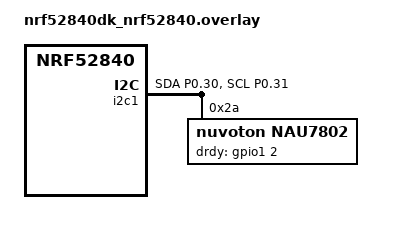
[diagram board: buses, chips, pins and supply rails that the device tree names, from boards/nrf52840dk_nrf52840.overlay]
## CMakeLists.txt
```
cmake_minimum_required(VERSION 3.20.0)

list(APPEND ZEPHYR_EXTRA_MODULES "${CMAKE_CURRENT_SOURCE_DIR}/drivers")

find_package(Zephyr REQUIRED HINTS $ENV{ZEPHYR_BASE})

project(nau7802-test-delete-me)

# Add your source files here
target_sources(app PRIVATE
    src/main.c            # Main application file
    src/shell/shell_commands.c  # Add shell command source file here
    src/ble/ble_service.c
    src/ble/myble_lbs.c
    src/nvs/nvs.c
    src/sensor/appcall_nau7802.c
    src/sensor/calibration.c
    src/power_off/poweroff.c
)

# Include directories for header files
target_include_directories(app PRIVATE
    src
    drivers     
)
```

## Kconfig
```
source "Kconfig.zephyr"
rsource "drivers/Kconfig"

menu "Nordic Bluetooth Smart Scale FW"

config APP_ENABLE_SHELL_CMDS
    bool "Enable custom shell commands"
    default y
    help
      Enable the registration of custom shell commands.

config APP_ENABLE_NVSRW
    bool "Enable NVS API to R/W Parameter"
    default y
    help
      Enable the registration of custom shell commands.

config SENSOR_VALUE_PAYLOAD
    bool "Enable custom shell commands"
    default y
    help
      Enable the registration of custom shell commands.

config BT_POWER_PROFILING_DATA_LENGTH
	int "Notification data length"
	default 20
	range 1 BT_L2CAP_TX_MTU
	help
	  Length of the data sends through notification mechanism.

config BT_POWER_PROFILING_NOTIFICATION_INTERVAL
	int "Notification interval"
	default 500
	help
	  Notification send interval in milliseconds. Notification data is sent on every interval
	  expiration.

config BT_POWER_PROFILING_NOTIFICATION_TIMEOUT
	int "Notification timeout"
	default 10000
	help
	  Notification timeout in milliseconds. When this timeout fires the device will stop
	  sending notifications.

config BT_POWER_PROFILING_CONNECTABLE_ADV_DURATION
	int "Connectable advertising duration"
	default 3000
	help
	  Connectable advertising duration in N*10 milliseconds unit.

config BT_POWER_PROFILING_NON_CONNECTABLE_ADV_DURATION
	int "Non-connectable advertising duration"
	default 6000
	help
	  Non-connectable advertising duration in N*10 milliseconds unit.

config BT_POWER_PROFILING_NFC_ADV_DURATION
	int "Advertising duration when the NFC field is detected"
	default 3000
	help
	  Advertising duration when the NFC field is detected in N*10 milliseconds unit.

config BT_POWER_PROFILING_CONNECTABLE_ADV_INTERVAL_MIN
	int "Connectable advertising minimum interval"
	default 160
	help
	  Connectable advertising minimum interval in 0.625 milliseconds unit.

config BT_POWER_PROFILING_CONNECTABLE_ADV_INTERVAL_MAX
	int "Connectable advertising maximum interval"
	default 240
	help
	  Connectable advertising maximum interval in 0.625 milliseconds unit.

config BT_POWER_PROFILING_NON_CONNECTABLE_ADV_INTERVAL_MIN
	int "Non-connectable advertising minimum interval"
	default 1600
	help
	  Non-connectable advertising minimum interval in 0.625 milliseconds unit.

config BT_POWER_PROFILING_NON_CONNECTABLE_ADV_INTERVAL_MAX
	int "Non-connectable advertising maximum interval"
	default 1920
	help
	  Non-connectable advertising maximum interval in 0.625 milliseconds unit.

config BT_POWER_PROFILING_LED_DISABLED
	bool "Disable LEDs"
	default y
	help
	  Disables the LEDs to reduce power consumption.

config BT_POWER_PROFILING_NFC_DISABLED
	bool "Disable NFC"
	help
	  Disables the NFC to reduce power consumption.

config SETTINGS
	default y

config ZMS
	default y if (SOC_FLASH_NRF_RRAM || SOC_FLASH_NRF_MRAM)

config NVS
	default y if !(SOC_FLASH_NRF_RRAM || SOC_FLASH_NRF_MRAM)

endmenu
```

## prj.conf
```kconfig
# Core system
CONFIG_SYSTEM_WORKQUEUE_STACK_SIZE=2048
CONFIG_MAIN_STACK_SIZE=2048

#According to PowerOFF Sample
CONFIG_NCS_SAMPLES_DEFAULTS=y

# Sensor
CONFIG_SENSOR=y
CONFIG_I2C=y
CONFIG_SPI=y
CONFIG_NAU7802=y
# # Interrut triggerred configurations
CONFIG_NAU7802_TRIGGER_NONE=n
CONFIG_NAU7802_TRIGGER_OWN_THREAD=y
CONFIG_NAU7802_TRIGGER_GLOBAL_THREAD=n
CONFIG_NAU7802_TRIGGER_DIRECT=n

# Enable Power management
CONFIG_PM_DEVICE=y
CONFIG_PM_DEVICE_RUNTIME=y
#CONFIG_SOC_DCDC_NRF52X=y

CONFIG_POWEROFF=y


#Bluetooth
CONFIG_BT=y
CONFIG_BT_SMP=y
CONFIG_BT_SMP_SC_PAIR_ONLY=n
CONFIG_BT_PERIPHERAL=y
CONFIG_BT_DEVICE_NAME="SmartScale"
CONFIG_BT_GATT_CLIENT=y

CONFIG_BT_USER_PHY_UPDATE=y

#CONFIG_BT_PERIPHERAL_PREF_MIN_INT=800
#CONFIG_BT_PERIPHERAL_PREF_MAX_INT=800
#CONFIG_BT_PERIPHERAL_PREF_LATENCY=0
#CONFIG_BT_PERIPHERAL_PREF_TIMEOUT=400
CONFIG_BT_GAP_AUTO_UPDATE_CONN_PARAMS=y

CONFIG_BT_USER_DATA_LEN_UPDATE=y
CONFIG_BT_CTLR_DATA_LENGTH_MAX=251
CONFIG_BT_BUF_ACL_RX_SIZE=251
CONFIG_BT_BUF_ACL_TX_SIZE=251
CONFIG_BT_L2CAP_TX_MTU=247

#NFC
CONFIG_NFC_T2T_NRFXLIB=y

CONFIG_NFC_NDEF=y
CONFIG_NFC_NDEF_MSG=y
CONFIG_NFC_NDEF_RECORD=y
CONFIG_NFC_NDEF_TEXT_RECORD=y
CONFIG_NFC_NDEF_LE_OOB_REC=y
CONFIG_NFC_NDEF_CH_MSG=y


# Button and LED library 
CONFIG_DK_LIBRARY=y


# Logging
CONFIG_LOG=y
CONFIG_TRACING=y


# Enable shell !!!@chrs89: FOR DEVELOPEMENT ONLY
CONFIG_APP_ENABLE_SHELL_CMDS=y
CONFIG_SHELL=y
CONFIG_SHELL_BACKEND_SERIAL=y  # If you're using serial communication to interact with the shell
CONFIG_SHELL_BACKEND_DUMMY=y
CONFIG_DEVICE_SHELL=y

# NVS Write !!!@chrs89: MANUFACTURE MODE ONLY
CONFIG_APP_ENABLE_NVSRW=y
CONFIG_FLASH=y
CONFIG_FLASH_PAGE_LAYOUT=y
CONFIG_NVS=y
CONFIG_REBOOT=y
CONFIG_MPU_ALLOW_FLASH_WRITE=y

# For Float Print Support
CONFIG_CBPRINTF_FP_SUPPORT=y
```

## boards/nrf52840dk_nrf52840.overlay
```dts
&spi0 {status = "disabled";};
&spi1 {status = "disabled";};
&i2c0 {status = "disabled";};

&i2c1 {
	status = "okay";
	compatible = "nordic,nrf-twim";

	pinctrl-0 = <&i2c1_default>;
	pinctrl-1 = <&i2c1_sleep>;
	pinctrl-names = "default", "sleep";
	/*enable device runtime pm for i2c */
	zephyr,pm-device-runtime-auto;


	nau7802: nau7802@2a {
		compatible = "nuvoton,nau7802";
		reg = <0x2a>;
		drdy-gpios = <&gpio1 2 GPIO_ACTIVE_HIGH>;
		conversions-per-second = <320>; //SPS
		gain = <128>;

		/*enable device runtime pm for bme sensor */
		zephyr,pm-device-runtime-auto;

		/* Default power-up the device on boot */
		status = "okay";  // Ensures the device is active (not disabled)
	};
};


&pinctrl {
	i2c1_default: i2c1_default {
		group1 {
			psels = <NRF_PSEL(TWIM_SDA, 0, 30)>,
					<NRF_PSEL(TWIM_SCL, 0, 31)>;
		};
	};

	i2c1_sleep: i2c1_sleep {
		group1 {
			psels = <NRF_PSEL(TWIM_SDA, 0, 30)>,
					<NRF_PSEL(TWIM_SCL, 0, 31)>;
			low-power-enable;
		};
	};
};
```

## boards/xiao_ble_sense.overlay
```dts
&i2c0 {
    status = "okay";
    compatible = "nordic,nrf-twim";
    nau7802: nau7802@2a {
        compatible = "nuvoton,nau7802";
        reg = <0x2a>;
        drdy-gpios = <&gpio0 1 GPIO_ACTIVE_HIGH>;
        conversions-per-second = <320>; //SPS
        gain = <128>;
    };
};
```

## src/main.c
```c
#include <zephyr/kernel.h>
#include <zephyr/drivers/gpio.h>
#include <zephyr/drivers/sensor.h>
#include <zephyr/drivers/i2c.h>
#include <zephyr/logging/log.h>
#include <zephyr/kernel/thread.h>
#include <dk_buttons_and_leds.h>

#include "sensor/nau7802/nau7802.h"

#ifdef CONFIG_APP_ENABLE_SHELL_CMDS
#include "shell/shell_commands.h"
#endif

#include "ble/ble_service.h"
#include "ble/myble_lbs.h"
#include "sensor/appcall_nau7802.h"
#include "app_nau7802_cmd.h"
#include "power_off/poweroff.h"

LOG_MODULE_REGISTER(MAIN_APPLICATION, LOG_LEVEL_DBG);

// === Definitions ===
#define RUN_STATUS_LED DK_LED1
#define CON_STATUS_LED DK_LED2
#define USER_BUTTON DK_BTN1_MSK

#define STACKSIZE 1024
#define PRIORITY 2
#define RUN_LED_BLINK_INTERVAL 1000
#define BLE_CONN_INTERVAL_MS 40

typedef struct force_val_compr sens_val_t;
BUILD_ASSERT(sizeof(sens_val_t) == 4, "sens_val_t must be 4 bytes");

#define SAMPLE_SIZE 4            // 2 bytes val1 + 2 bytes val2
#define MAX_SAMPLES_PER_NOTIF 61 // 244 bytes max / 4 bytes

/*TASKS & THREAD DEFINITION*/
static void ble_send_work_handler(struct k_work *work);
static K_WORK_DELAYABLE_DEFINE(ble_send_work, ble_send_work_handler);

void start_ble_send_loop(void)
{
    k_work_schedule(&ble_send_work, K_NO_WAIT);
}

K_MSGQ_DEFINE(sensor_data_queue, sizeof(sens_val_t), 128, 4);

K_SEM_DEFINE(bleSend_action_sem, 0, 1);

/*Thread Timing*/
#include <zephyr/sys/atomic.h>
static atomic_t producer_cb_counter = ATOMIC_INIT(0);
static atomic_t consumer_cb_counter = ATOMIC_INIT(0);
static atomic_t ble_loop_running = ATOMIC_INIT(0);
static struct k_thread log_rate_id;
K_THREAD_STACK_DEFINE(worker_stack_1, 512);

void log_callback_rate_thread(void)
{
    while (1)
    {
        k_sleep(K_SECONDS(1)); // Log every second

        int count = atomic_set(&producer_cb_counter, 0); // Reset and read
        int interval = 1e6 / count;
        printk("Producer Thread interval: %d µs, frequ: %d hz \n", interval, count);

        count = atomic_set(&consumer_cb_counter, 0); // Reset and read
        interval = 1e6 / count;
        printk("Consumer Thread interval: %d µs, frequ: %d hz \n", interval, count);
    }
}

/*Thread Timing*/

// === BLE Application Callbacks ===
static bool app_button_state;

static void app_led_cb(bool led_state)
{
    // dk_set_led(USER_LED, led_state);
}

static bool app_button_cb(void)
{
    return app_button_state;
}

static void app_aindx_cb(const uint8_t val)
{
    LOG_INF("A_INDX_Call_Back_Function value: %d", val);
    if (val < NAU7802_CMD_COUNT)
    {
        // Value is a valid command enum
        int err = nau7802_execute_command((enum app_nau7802_command)val);
        if (err)
        {
            LOG_ERR("nau7802_execute_command (err: %d)", err);
        }
    }
    else
    {
        LOG_WRN("Invalid BLE command: %d", val);
    }
}

static struct my_lbs_cb app_callbacks = {
    .led_cb = app_led_cb,
    .button_cb = app_button_cb,
    .aindx_cb = app_aindx_cb,
};

// === Button Callback ===
static void button_changed(uint32_t button_state, uint32_t has_changed)
{
    if (has_changed & USER_BUTTON)
    {
        uint32_t user_button_state = button_state & USER_BUTTON;
        my_lbs_send_button_state_indicate(user_button_state);
        app_button_state = user_button_state ? true : false;
    }
}

// === BLE Send Work Handler ===
static void ble_send_work_handler(struct k_work *work)
{

    atomic_inc(&consumer_cb_counter);

    bool prod_active = k_msgq_num_used_get(&sensor_data_queue) > 0;

    uint8_t ble_buffer[244];
    struct force_val_compr val_compr;
    size_t sample_count = 0;

    while (sample_count < MAX_SAMPLES_PER_NOTIF)
    {
        if (k_msgq_get(&sensor_data_queue, &val_compr, K_NO_WAIT) == 0)
        {

            memcpy(&ble_buffer[sample_count * SAMPLE_SIZE], &val_compr, SAMPLE_SIZE);
            sample_count++;
        }
        else
        {
            break;
        }
    }

    if (sample_count > 0)
    {
        size_t len = sample_count * SAMPLE_SIZE;
        int err = my_lbs_send_batched_notify(ble_buffer, len);
        if (err)
        {
            LOG_ERR("Failed to send batched notify: %d", err);
        }
    }

    /*Adaptive Re-Scheduling if Producer is Active*/
    // Re-schedule for next interval (K_Work Delayable Concept)
    if (prod_active)
    {
        k_work_schedule(&ble_send_work, K_MSEC(BLE_CONN_INTERVAL_MS));
    }
    else
    {
        // Stop loop — it will be restarted by the producer when active again
        atomic_set(&ble_loop_running, 0);
        LOG_DBG("BLE loop stopped — no pending data");
    }
}

// === Sensor Callback ===
const struct device *const nau7802 = DEVICE_DT_GET_ONE(nuvoton_nau7802);

void sensor_data_ready_callback(const struct device *dev, const struct sensor_trigger *trig)
{
    /*TEST PURPOSE SIMULATE SENSOR DATA*/
    static uint16_t simulated_value = 0;
    static uint16_t val2 = 1234;

    atomic_inc(&producer_cb_counter); // Count every call

    struct sensor_value force_val;
    if (nau7802_sample_fetch(dev) < 0 || nau7802_channel_get(dev, SENSOR_CHAN_FORCE, &force_val) < 0)
    {
        LOG_ERR("Failed to fetch or get sensor value");
        return;
    }

    struct force_val_compr val_compr;
    val_compr.val1 = (int16_t)(simulated_value);
    val_compr.val2 = (int16_t)val2;

    // Increment and wrap
    simulated_value += 1;
    if (simulated_value > 10000)
    {
        simulated_value = 0;
    }

    if (k_msgq_put(&sensor_data_queue, &val_compr, K_NO_WAIT) == 0)
    {
        if (atomic_cas(&ble_loop_running, 0, 1))
        {
            // Start delayed BLE send work
            start_ble_send_loop();
            LOG_DBG("BLE loop started by producer");
        }
    }
    else
    {
        LOG_WRN("Sensor data queue full — dropping data");
    }

    // struct sensor_value force_val;
    // if (nau7802_sample_fetch(dev) < 0 || nau7802_channel_get(dev, SENSOR_CHAN_FORCE, &force_val) < 0)
    // {
    //     LOG_ERR("Failed to fetch or get sensor value");
    //     return;
    // }

    // struct force_val_compr val_compr;
    // val_compr.val1 = (int16_t)(force_val.val1);
    // val_compr.val2 = (int16_t)(force_val.val2 / 1000);

    // if (k_msgq_put(&sensor_data_queue, &val_compr, K_NO_WAIT) == 0)
    // {
    //     k_sem_give(&bleSend_action_sem); // Nothing to give
    // }
    // else
    // {
    //     LOG_WRN("Sensor data queue full — dropping data");
    // }
}

// === Init Button ===
static int init_button(void)
{
    int err = dk_buttons_init(button_changed);
    if (err)
    {
        LOG_ERR("Cannot init buttons (err: %d)", err);
    }
    return err;
}

// === Main Entry Point ===
int main(void)
{
    int err;
    int blink_status = 0;

// Shell commands
#ifdef CONFIG_APP_ENABLE_SHELL_CMDS
    register_shell_commands();
#endif

    // Sensor readiness
    if (!device_is_ready(nau7802))
    {
        LOG_ERR("Sensor not ready");
        return 0;
    }

// Load Calibration Data from NVS and set to nau7802
#ifdef CONFIG_APP_ENABLE_NVSRW
    err = load_calib_fromNVS(nau7802);
    if (err < 0)
    {
        LOG_ERR("Failed to load calib data from NVS, %d", err);
        // return 0;
    }
#endif

    // Set up sensor trigger
    struct sensor_trigger trig = {
        .type = SENSOR_TRIG_DATA_READY,
        .chan = SENSOR_CHAN_FORCE,
    };

    err = nau7802_trigger_set(nau7802, &trig, sensor_data_ready_callback);
    if (err < 0)
    {
        LOG_ERR("Failed to set sensor trigger");
        return 0;
    }

    // LED & button init
    err = dk_leds_init();
    if (err)
        return -1;

    err = init_button();
    if (err)
        return -1;

    err = init_ble_service();
    if (err)
    {
        LOG_ERR("Failed to init BLE Service (err:%d)", err);
        return -1;
    }

    err = my_lbs_init(&app_callbacks);
    if (err)
    {
        LOG_ERR("Failed to init LBS (err:%d)", err);
        return -1;
    }

    // BLE advertising
    ble_start_advertising();

    // POWER_OFF
    poweroff();
    print_reset_reason();

    if (start_nfc() < 0)
    {
        printk("ERROR: NFC configuration failed\n");
        return -1;
    }

    // LOG TREAD ATOMMIC
    // k_thread_create(&log_rate_id, worker_stack_1, 512, (k_thread_entry_t)log_callback_rate_thread, NULL, NULL, NULL, 5, 0, K_NO_WAIT);

    // LED heartbeat loop
    for (;;)
    {
        dk_set_led(RUN_STATUS_LED, (++blink_status) % 2);
        k_sleep(K_MSEC(RUN_LED_BLINK_INTERVAL));
    }
}
```

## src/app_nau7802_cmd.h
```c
// app_nau7802_cmd.h
#ifndef APP_NAU7802_CMD_H
#define APP_NAU7802_CMD_H

enum app_nau7802_command
{
    NAU7802_RESUME_THREAD = 0,
    NAU7802_SUSPEND_THREAD,
    NAU7802_SET_10SPS,
    NAU7802_SET_20SPS,
    NAU7802_SET_40SPS,
    NAU7802_SET_80SPS,
    NAU7802_SET_320SPS,
    NAU7802_TARA,
    NAU7802_GET_OFFSET,
    NAU7802_GET_CALIBRATIONF_5KG,
    NAU7802_CMD_COUNT, // Always last: size of the command list
};

#endif // APP_NAU7802_CMD_H
```

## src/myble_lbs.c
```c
/*
 * Copyright (c) 2018 Nordic Semiconductor ASA
 *
 * SPDX-License-Identifier: LicenseRef-Nordic-5-Clause
 */

/** @file
 *  @brief LED Button Service (LBS) sample
 */

#include <zephyr/types.h>
#include <stddef.h>
#include <string.h>
#include <errno.h>
#include <zephyr/sys/printk.h>
#include <zephyr/sys/byteorder.h>
#include <zephyr/kernel.h>
#include <zephyr/logging/log.h>
#include <zephyr/bluetooth/bluetooth.h>
#include <zephyr/bluetooth/hci.h>
#include <zephyr/bluetooth/conn.h>
#include <zephyr/bluetooth/uuid.h>
#include <zephyr/bluetooth/gatt.h>
#include <zephyr/drivers/sensor.h>
#include <zephyr/sys_clock.h>

#include "myble_lbs.h"

LOG_MODULE_DECLARE(NAU7802, LOG_LEVEL_DBG);

// Global variable to store the period time (time between calls)
static uint32_t prev_time_us = 0; // Store time in microseconds

static bool notify_mysensor_enabled;
static bool indicate_enabled;
static bool button_state;
static struct my_lbs_cb lbs_cb;

/* STEP 4 - Define an indication parameter */
static struct bt_gatt_indicate_params ind_params;

/* STEP 3 - Implement the configuration change callback function */
static void mylbsbc_ccc_cfg_changed(const struct bt_gatt_attr *attr, uint16_t value)
{
	indicate_enabled = (value == BT_GATT_CCC_INDICATE);
}

/* STEP 13 - Define the configuration change callback function for the MYSENSOR characteristic */
static void mylbsbc_ccc_mysensor_cfg_changed(const struct bt_gatt_attr *attr, uint16_t value)
{
	notify_mysensor_enabled = (value == BT_GATT_CCC_NOTIFY);
	LOG_INF("MYSENSOR CCCD changed: %d", value); // <--- ADD THIS
}

// This function is called when a remote device has acknowledged the indication at its host layer
static void indicate_cb(struct bt_conn *conn, struct bt_gatt_indicate_params *params, uint8_t err)
{
	LOG_DBG("Indication %s\n", err != 0U ? "fail" : "success");
}

static ssize_t write_led(struct bt_conn *conn, const struct bt_gatt_attr *attr, const void *buf,
						 uint16_t len, uint16_t offset, uint8_t flags)
{
	LOG_DBG("Attribute write, handle: %u, conn: %p", attr->handle, (void *)conn);

	if (len != 1U)
	{
		LOG_DBG("Write led: Incorrect data length");
		return BT_GATT_ERR(BT_ATT_ERR_INVALID_ATTRIBUTE_LEN);
	}

	if (offset != 0)
	{
		LOG_DBG("Write led: Incorrect data offset");
		return BT_GATT_ERR(BT_ATT_ERR_INVALID_OFFSET);
	}

	if (lbs_cb.led_cb)
	{
		// Read the received value
		uint8_t val = *((uint8_t *)buf);

		if (val == 0x00 || val == 0x01)
		{
			// Call the application callback function to update the LED state
			lbs_cb.led_cb(val ? true : false);
		}
		else
		{
			LOG_DBG("Write led: Incorrect value");
			return BT_GATT_ERR(BT_ATT_ERR_VALUE_NOT_ALLOWED);
		}
	}

	return len;
}

static ssize_t write_aindx(struct bt_conn *conn, const struct bt_gatt_attr *attr, const void *buf,
						   uint16_t len, uint16_t offset, uint8_t flags)
{
	LOG_DBG("Attribute write, handle: %u, conn: %p", attr->handle, (void *)conn);

	if (len != 1U)
	{
		LOG_DBG("Write led: Incorrect data length");
		return BT_GATT_ERR(BT_ATT_ERR_INVALID_ATTRIBUTE_LEN);
	}

	if (offset != 0)
	{
		LOG_DBG("Write led: Incorrect data offset");
		return BT_GATT_ERR(BT_ATT_ERR_INVALID_OFFSET);
	}

	if (lbs_cb.aindx_cb)
	{
		// Read the received value
		uint8_t val = *((uint8_t *)buf);

		if (val == 0x00 || val == 0x01)
		{
			// Call the application callback function to update the LED state
			lbs_cb.aindx_cb(val ? true : false);
		}
		else
		{
			LOG_DBG("Write led: Incorrect value");
			return BT_GATT_ERR(BT_ATT_ERR_VALUE_NOT_ALLOWED);
		}
	}

	return len;
}

static ssize_t read_button(struct bt_conn *conn, const struct bt_gatt_attr *attr, void *buf,
						   uint16_t len, uint16_t offset)
{
	// get a pointer to button_state which is passed in the BT_GATT_CHARACTERISTIC() and stored in attr->user_data
	const char *value = attr->user_data;

	LOG_DBG("Attribute read, handle: %u, conn: %p", attr->handle, (void *)conn);

	if (lbs_cb.button_cb)
	{
		// Call the application callback function to update the get the current value of the button
		button_state = lbs_cb.button_cb();
		return bt_gatt_attr_read(conn, attr, buf, len, offset, value, sizeof(*value));
	}

	return 0;
}

/* LED Button Service Declaration */
BT_GATT_SERVICE_DEFINE(
	my_lbs_svc, BT_GATT_PRIMARY_SERVICE(BT_UUID_LBS),
	/* STEP 1 - Modify the Button characteristic declaration to support indication */
	BT_GATT_CHARACTERISTIC(BT_UUID_LBS_BUTTON, BT_GATT_CHRC_READ | BT_GATT_CHRC_INDICATE,
						   BT_GATT_PERM_READ, read_button, NULL, &button_state),
	/* STEP 2 - Create and add the Client Characteristic Configuration Descriptor */
	BT_GATT_CCC(mylbsbc_ccc_cfg_changed, BT_GATT_PERM_READ | BT_GATT_PERM_WRITE),

	BT_GATT_CHARACTERISTIC(BT_UUID_LBS_LED, BT_GATT_CHRC_WRITE, BT_GATT_PERM_WRITE, NULL,
						   write_led, NULL),

	/* STEP 12 - Create and add the MYSENSOR characteristic and its CCCD  */
	BT_GATT_CHARACTERISTIC(BT_UUID_LBS_MYSENSOR, BT_GATT_CHRC_NOTIFY, BT_GATT_PERM_NONE, NULL,
						   NULL, NULL),

	BT_GATT_CCC(mylbsbc_ccc_mysensor_cfg_changed, BT_GATT_PERM_READ | BT_GATT_PERM_WRITE),

	BT_GATT_CHARACTERISTIC(BT_UUID_LBS_AINDX, BT_GATT_CHRC_WRITE, BT_GATT_PERM_WRITE, NULL,
						   write_aindx, NULL),

);
/* A function to register application callbacks for the LED and Button characteristics  */
int my_lbs_init(struct my_lbs_cb *callbacks)
{
	if (callbacks)
	{
		lbs_cb.led_cb = callbacks->led_cb;
		lbs_cb.button_cb = callbacks->button_cb;
		lbs_cb.aindx_cb = callbacks->aindx_cb;
	}

	print_gatt_attributes();

	return 0;
}

/* STEP 5 - Define the function to send indications */
int my_lbs_send_button_state_indicate(bool button_state)
{
	if (!indicate_enabled)
	{
		return -EACCES;
	}
	ind_params.attr = &my_lbs_svc.attrs[2];
	ind_params.func = indicate_cb; // A remote device has ACKed at its host layer (ATT ACK)
	ind_params.destroy = NULL;
	ind_params.data = &button_state;
	ind_params.len = sizeof(button_state);
	return bt_gatt_indicate(NULL, &ind_params);
}

// Function to convert a 32-bit integer to little-endian format
static inline uint32_t to_little_endian(uint32_t val)
{
	return (val & 0xFF) << 24 | (val & 0xFF00) << 8 | (val & 0xFF0000) >> 8 | (val >> 24);
}

/* STEP 14 - Define the function to send notifications for the MYSENSOR characteristic */
int my_lbs_send_sensor_notify(struct sensor_value force_val)
{

	// Get the current time in microseconds
	uint32_t current_time_us = k_cyc_to_us_floor32(k_cycle_get_32());

	if (prev_time_us == 0)
	{
		// First call
		prev_time_us = current_time_us;
		LOG_INF("First call, no period time to calculate.");
		return 0;
	}

	// Time difference in microseconds
	uint32_t period_time_us = current_time_us - prev_time_us;
	// LOG_INF("Period time (time between calls): %d µs", period_time_us);

	prev_time_us = current_time_us;

	uint8_t buffer[8];
	int err;

	if (!notify_mysensor_enabled)
	{
		return -EACCES;
	}

	if (!USE_LITTLE_ENDIAN)
	{
		// Convert to little-endian format if system is big-endian
		uint32_t val1_le = to_little_endian(force_val.val1);
		uint32_t val2_le = to_little_endian(force_val.val2);
		memcpy(buffer, &val1_le, sizeof(uint32_t));		// Copy val1 (little-endian)
		memcpy(buffer + 4, &val2_le, sizeof(uint32_t)); // Copy val2 (little-endian)
	}
	else
	{
		// System is little-endian, directly copy values without conversion
		memcpy(buffer, &force_val.val1, sizeof(int32_t));
		memcpy(buffer + 4, &force_val.val2, sizeof(int32_t));

		// LOG_INF("Sensor val1 : % d val2 : % d, float_value: %f, buffer: %d", force_val.val1, force_val.val2, sensor_value_to_float(&force_val), buffer);
		// LOG_INF("buf[0] : %d, buf[1] : %d, buf[2] %d, buf[3] %d, buf[4] : %d, buf[5] : %d, buf[6] %d, buf[7] %d", buffer[0], buffer[1], buffer[2], buffer[3], buffer[4], buffer[5], buffer[6], buffer[7]);
	}

	err = bt_gatt_notify(NULL, &my_lbs_svc.attrs[7], &buffer, sizeof(buffer));
	if (err != 0)
	{
		LOG_ERR("bt_gatt_notify err: %d", err);
		return err;
	}

	return 0;
}

void print_gatt_attributes(void)
{
	LOG_INF("Dumping attributes for my_lbs_svc:");

	for (size_t i = 0; i < my_lbs_svc.attr_count; i++)
	{
		const struct bt_gatt_attr *attr = &my_lbs_svc.attrs[i];
		const struct bt_uuid *uuid = attr->uuid;

		if (!uuid)
		{
			LOG_INF("[%d] NULL UUID", i);
			continue;
		}

		char uuid_str[BT_UUID_STR_LEN];
		bt_uuid_to_str(uuid, uuid_str, sizeof(uuid_str));

		LOG_INF("[%d] UUID: %s, handle: %d, perm: 0x%02X", i, uuid_str, attr->handle, attr->perm);
	}
}
```

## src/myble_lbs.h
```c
/*
 * Copyright (c) 2018 Nordic Semiconductor ASA
 *
 * SPDX-License-Identifier: LicenseRef-Nordic-5-Clause
 */

#ifndef BT_LBS_H_
#define BT_LBS_H_

/**@file
 * @defgroup bt_lbs LED Button Service API
 * @{
 * @brief API for the LED Button Service (LBS).
 */

#ifdef __cplusplus
extern "C" {
#endif

#include <zephyr/types.h>

/** @brief LBS Service UUID. */
#define BT_UUID_LBS_VAL BT_UUID_128_ENCODE(0x00001523, 0x1212, 0xefde, 0x1523, 0x785feabcd123)

/** @brief Button Characteristic UUID. */
#define BT_UUID_LBS_BUTTON_VAL                                                                     \
	BT_UUID_128_ENCODE(0x00001524, 0x1212, 0xefde, 0x1523, 0x785feabcd123)

/** @brief LED Characteristic UUID. */
#define BT_UUID_LBS_LED_VAL BT_UUID_128_ENCODE(0x00001525, 0x1212, 0xefde, 0x1523, 0x785feabcd123)

/* STEP 11.1 - Assign a UUID to the MYSENSOR characteristic */
/** @brief LED Characteristic UUID. */
#define BT_UUID_LBS_MYSENSOR_VAL                                                                   \
	BT_UUID_128_ENCODE(0x00001526, 0x1212, 0xefde, 0x1523, 0x785feabcd123)

#define BT_UUID_LBS BT_UUID_DECLARE_128(BT_UUID_LBS_VAL)
#define BT_UUID_LBS_BUTTON BT_UUID_DECLARE_128(BT_UUID_LBS_BUTTON_VAL)
#define BT_UUID_LBS_LED BT_UUID_DECLARE_128(BT_UUID_LBS_LED_VAL)
/* STEP 11.2 - Convert the array to a generic UUID */
#define BT_UUID_LBS_MYSENSOR BT_UUID_DECLARE_128(BT_UUID_LBS_MYSENSOR_VAL)

/*BLE Send Data Format*/
#define USE_LITTLE_ENDIAN 1


/** @brief Callback type for when an LED state change is received. */
typedef void (*led_cb_t)(const bool led_state);

/** @brief Callback type for when the button state is pulled. */
typedef bool (*button_cb_t)(void);

/** @brief Callback struct used by the LBS Service. */
struct my_lbs_cb {
	/** LED state change callback. */
	led_cb_t led_cb;
	/** Button read callback. */
	button_cb_t button_cb;
};

/** @brief Initialize the LBS Service.
 *
 * This function registers application callback functions with the My LBS
 * Service
 *
 * @param[in] callbacks Struct containing pointers to callback functions
 *			used by the service. This pointer can be NULL
 *			if no callback functions are defined.
 *
 *
 * @retval 0 If the operation was successful.
 *           Otherwise, a (negative) error code is returned.
 */
int my_lbs_init(struct my_lbs_cb *callbacks);

/** @brief Send the button state as indication.
 *
 * This function sends a binary state, typically the state of a
 * button, to all connected peers.
 *
 * @param[in] button_state The state of the button.
 *
 * @retval 0 If the operation was successful.
 *           Otherwise, a (negative) error code is returned.
 */
int my_lbs_send_button_state_indicate(bool button_state);

/** @brief Send the button state as notification.
 *
 * This function sends a binary state, typically the state of a
 * button, to all connected peers.
 *
 * @param[in] button_state The state of the button.
 *
 * @retval 0 If the operation was successful.
 *           Otherwise, a (negative) error code is returned.
 */
int my_lbs_send_button_state_notify(bool button_state);

/** @brief Send the sensor value as notification.
 *
 * This function sends an uint32_t  value, typically the value
 * of a simulated sensor to all connected peers.
 *
 * @param[in] sensor_value The value of the simulated sensor.
 *
 * @retval 0 If the operation was successful.
 *           Otherwise, a (negative) error code is returned.
 */
int my_lbs_send_sensor_notify(struct sensor_value force_value);

#ifdef __cplusplus
}
#endif

/**
 * @}
 */

#endif /* BT_LBS_H_ */
```

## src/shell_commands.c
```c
#include <zephyr/kernel.h>
#include <zephyr/logging/log.h>
#include <zephyr/shell/shell.h>
#include "shell_commands.h"


LOG_MODULE_REGISTER(shell_commands, LOG_LEVEL_INF);



/* ---- SHELL COMMAND IMPLEMENTATIONS ---- */

int cmd_hello_world(const struct shell *shell, size_t argc, char **argv)
{
    // Output "Hello, World!" in the shell
    shell_print(shell, "Hello, World!");
    return 0; // Return 0 to indicate success
}
```

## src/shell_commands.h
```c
#ifndef SHELL_CMDS_H
#define SHELL_CMDS_H

#include <zephyr/kernel.h>
#include <zephyr/shell/shell.h>



int cmd_hello_world(const struct shell *shell, size_t argc, char **argv);

#endif // SHELL_COMMANDS_H
```
